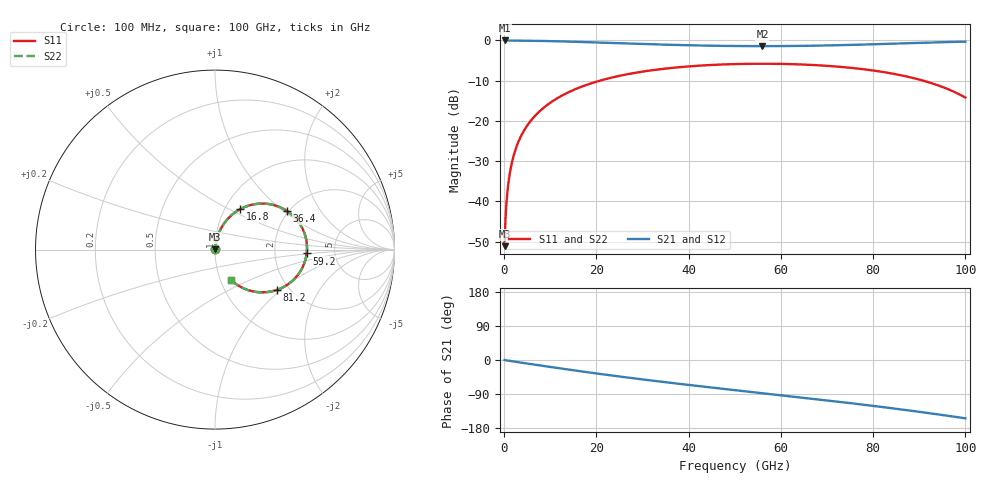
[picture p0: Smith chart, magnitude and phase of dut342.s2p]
! Touchstone file exported from HFSS 2026.1.0
!  File:  C:/ffzhzh/LocalFiles/Ansys_Project_Files/temp_train_RDL_342_1783503076_44152.aedt
!  Generated:  05:32:39 PM Jul  8, 2026
!  Design:  RDL
!  Project:  temp_train_RDL_342_1783503076_44152
! Variables:
!  h_bsmrdl = 2um
!  h_ox = 20um
!  h_rdl = 5um
!  h_sub = 80um
!  h_tmrdl = 4.23um
!  h_tsv = 80um
!  h_via = 3um
!  l_bsmrdl = 300um
!  l_sub = 917.82um
!  l_tmrdl = 517.82um
!  m_sub = 200um
!  pitch = 50.73um
!  r_tsv = 6um
!  s_tmrdl = 10um
!  w_bsmrdl = 18um
!  w_sub = 500um
!  w_tmrdl = 24.96um
!  x_tsv_center1 = 530.3um
!  x_tsv_center2 = 848.3um
!  x_tsv_center3 = 1391.08um
!  x_tsv_center4 = 1709.08um
!  x_tsv_center5 = 2251.86um
!  x_tsv_center6 = 2569.86um
# GHz S MA R 50.000000
! Terminal data exported
! Port[1] = TM_RDL1_1_T1
! Port[2] = TM_RDL1_1_T2
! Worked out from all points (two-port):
!   1000 points, 100 MHz to 100 GHz, reference 50 ohm
!   highest |S21| = -0.02 dB at 100 MHz (marker M1); lowest = -1.4 dB at 56 GHz (marker M2)
!   |S21| within 3 dB of the highest: start of sweep to end of sweep
!   lowest |S11| = -51.1 dB at 100 MHz (marker M3), VSWR 1.01, Z = 50.2 + j0.198 ohm
!   |S11| at or under -10 dB: start of sweep to 20.8 GHz; 90.83 GHz to end of sweep
!   |S22| runs from -51.1 to -5.8 dB; largest |S21 - S12| = 1.9e-14
!   S11 on the Smith chart (normalised r, x): 100 MHz: 1.00, +0.00; 16.8 GHz: 1.18, +0.57; 36.4 GHz: 1.96, +1.06; 59.2 GHz: 3.08, -0.18; 81.2 GHz: 1.74, -0.94; 100 GHz: 1.13, -0.40
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0.1  0.002772 45.5  0.9981 -0.2  0.9981 -0.2  0.002772 45.5
! Gamma 0 0 0 0
! Port Impedance 50 0 50 0
0.8  0.0147 78.8  0.9974 -1.5  0.9974 -1.5  0.0147 78.8
1.1  0.01996 80.5  0.9972 -2.1  0.9972 -2.1  0.01996 80.5
1.4  0.02524 81.3  0.997 -2.6  0.997 -2.6  0.02524 81.3
1.9  0.03404 81.6  0.9966 -3.6  0.9966 -3.6  0.03404 81.6
2.5  0.04455 81.3  0.9959 -4.7  0.9959 -4.7  0.04455 81.2
4  0.07045 79.3  0.9936 -7.5  0.9936 -7.5  0.07045 79.3
6.1  0.1057 75.9  0.9893 -11.3  0.9893 -11.3  0.1057 75.9
8.9  0.1508 71.2  0.9822 -16.4  0.9822 -16.4  0.1508 71.2
12.5  0.2057 65.1  0.971 -22.8  0.971 -22.8  0.2057 65.1
16.8  0.266 58.0  0.9554 -30.1  0.9554 -30.1  0.266 58.0
24.2  0.3543 46.2  0.9257 -42.3  0.9257 -42.3  0.3543 46.2
33.4  0.4354 32.5  0.8903 -56.3  0.8903 -56.3  0.4354 32.5
36.4  0.4552 28.2  0.8803 -60.7  0.8803 -60.7  0.4552 28.2
50.1  0.5079 9.6  0.8514 -79.6  0.8514 -79.6  0.5079 9.5
56  0.5129 1.8  0.8484 -87.5  0.8484 -87.5  0.5128 1.7
59.2  0.5113 -2.4  0.8493 -91.8  0.8493 -91.8  0.5112 -2.5
66.7  0.4954 -12.4  0.8582 -102.0  0.8582 -102.0  0.4954 -12.5
81.2  0.4129 -32.8  0.8986 -122.9  0.8986 -122.9  0.4128 -32.9
83.4  0.3938 -36.1  0.9067 -126.3  0.9067 -126.3  0.3938 -36.2
92.5  0.296 -50.1  0.941 -140.9  0.941 -140.9  0.296 -50.2
100  0.1946 -61.9  0.9647 -153.9  0.9647 -153.9  0.1946 -62.0
